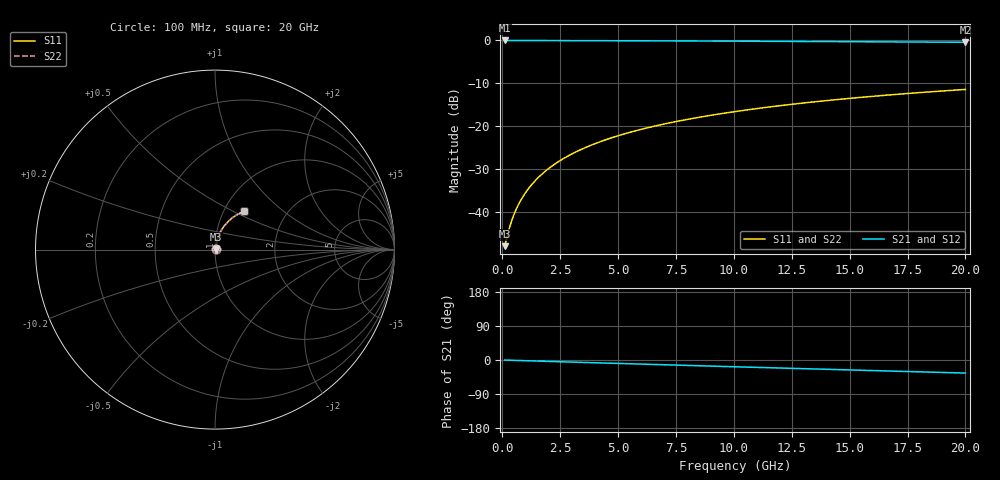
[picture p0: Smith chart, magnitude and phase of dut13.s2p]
! Touchstone file exported from HFSS 2026.1.0
!  File:  C:/ffzhzh/LocalFiles/Ansys_Project_Files/temp_test_TMRDL_13_1782907062_8056.aedt
!  Generated:  07:58:49 PM Jul  1, 2026
!  Design:  TMRDL
!  Project:  temp_test_TMRDL_13_1782907062_8056
! Variables:
!  h_bsmrdl = 2um
!  h_ox = 20um
!  h_rdl = 5um
!  h_sub = 80um
!  h_tmrdl = 4.61um
!  h_tsv = 80um
!  h_via = 3um
!  l_bsmrdl = 300um
!  l_sub = 952.42um
!  l_tmrdl = 552.42um
!  m_sub = 200um
!  pitch = 25.5um
!  r_tsv = 6um
!  s_tmrdl = 10um
!  w_bsmrdl = 18um
!  w_sub = 500um
!  w_tmrdl = 12.03um
!  x_tsv_center1 = 558.435um
!  x_tsv_center2 = 876.435um
!  x_tsv_center3 = 1440.885um
!  x_tsv_center4 = 1758.885um
!  x_tsv_center5 = 2323.335um
!  x_tsv_center6 = 2641.335um
# GHz S MA R 50.000000
! Terminal data exported
! Port[1] = TM_RDL1_1_T1
! Port[2] = TM_RDL1_1_T2
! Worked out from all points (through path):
!   200 points, 100 MHz to 20 GHz, reference 50 ohm
!   highest |S21| = -0.03 dB at 100 MHz (marker M1); lowest = -0.5 dB at 20 GHz (marker M2)
!   group delay of S21, straight-line fit = 4.78 ps
!   lowest |S11| = -47.9 dB at 100 MHz (marker M3), VSWR 1.01, Z = 50.4 + j0.177 ohm
!   |S11| at or under -10 dB: start of sweep to end of sweep
!   |S22| runs from -47.9 to -11.4 dB; largest |S21 - S12| = 4e-15
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0.1  0.004011 26.0  0.9964 -0.2  0.9964 -0.2  0.004011 26.0
! Gamma 0 0 0 0
! Port Impedance 50 0 50 0
0.3  0.006432 52.8  0.9961 -0.6  0.9961 -0.6  0.006432 52.8
0.4  0.007855 59.0  0.996 -0.8  0.996 -0.8  0.007854 59.0
0.5  0.009308 63.1  0.9959 -0.9  0.9959 -0.9  0.009306 63.1
0.6  0.01078 66.1  0.9958 -1.1  0.9958 -1.1  0.01078 66.1
0.7  0.01226 68.4  0.9957 -1.3  0.9957 -1.3  0.01226 68.4
0.9  0.01526 71.7  0.9956 -1.7  0.9956 -1.7  0.01525 71.7
1.2  0.01981 74.6  0.9953 -2.2  0.9953 -2.2  0.01981 74.6
1.4  0.02288 75.7  0.9952 -2.6  0.9952 -2.6  0.02288 75.7
1.7  0.02749 76.8  0.9949 -3.1  0.9949 -3.1  0.02749 76.8
2.2  0.0352 77.7  0.9944 -4.0  0.9944 -4.0  0.0352 77.7
2.8  0.04442 77.8  0.9936 -5.1  0.9936 -5.1  0.04442 77.8
3.5  0.05508 77.4  0.9926 -6.4  0.9926 -6.4  0.05507 77.4
4.2  0.0656 76.6  0.9914 -7.7  0.9914 -7.7  0.0656 76.6
5  0.07745 75.6  0.9898 -9.1  0.9898 -9.1  0.07745 75.6
5.9  0.09054 74.3  0.988 -10.7  0.988 -10.7  0.09054 74.3
6.8  0.1034 72.9  0.986 -12.3  0.986 -12.3  0.1034 72.9
8.3  0.1243 70.6  0.9825 -14.9  0.9825 -14.9  0.1243 70.6
10.1  0.1487 67.8  0.978 -18.0  0.978 -18.0  0.1487 67.8
13.4  0.1913 62.7  0.969 -23.6  0.969 -23.6  0.1913 62.7
16.7  0.2311 57.5  0.9592 -29.1  0.9592 -29.1  0.2311 57.5
20  0.268 52.4  0.9487 -34.5  0.9487 -34.5  0.268 52.4
